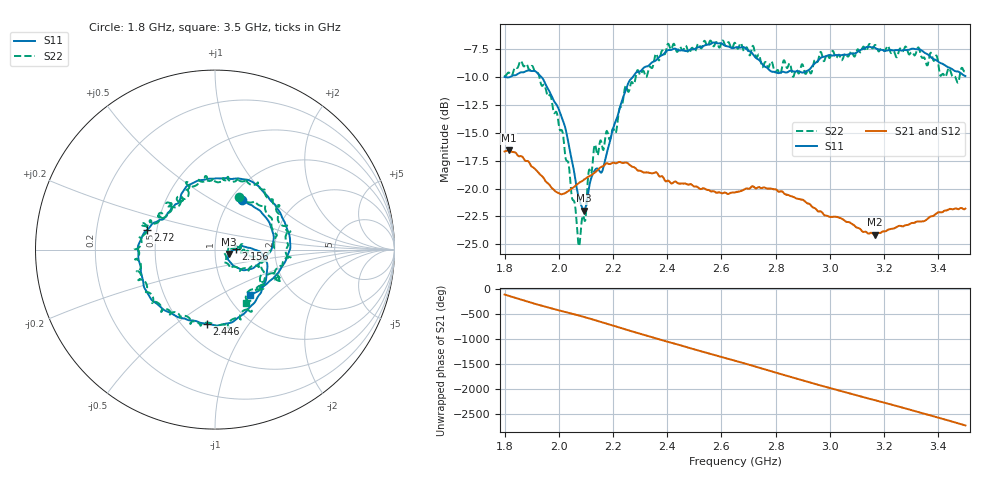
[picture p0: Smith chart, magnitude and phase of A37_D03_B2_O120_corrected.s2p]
! Created with skrf 1.9.0 (http://scikit-rf.org).
# Hz S RI R 50.0
!freq ReS11 ImS11 ReS21 ImS21 ReS12 ImS12 ReS22 ImS22
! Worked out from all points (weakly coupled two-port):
!   1601 points, 1.8 GHz to 3.5 GHz, reference 50 ohm
!   highest |S21| = -16.58 dB at 1.815 GHz (marker M1); lowest = -24.1 dB at 3.165 GHz (marker M2)
!   lowest |S11| = -22.0 dB at 2.093 GHz (marker M3), VSWR 1.17, Z = 58.1 - j2.8 ohm
!   |S11| at or under -10 dB: start of sweep to 1.821 GHz; 1.935 GHz to 2.274 GHz (338.1 MHz wide, 16.1 % of centre)
!   |S22| runs from -25.2 to -6.7 dB; largest |S21 - S12| = 0.0025
!   S11 on the Smith chart (normalised r, x): 1.8 GHz: 1.13, +0.70; 2.156 GHz: 1.27, +0.01; 2.446 GHz: 0.65, -0.65; 2.72 GHz: 0.44, +0.12; 3.5 GHz: 1.26, -0.71
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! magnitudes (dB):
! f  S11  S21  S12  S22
! 1.8 GHz  -10.0  -16.7  -16.7  -9.8
! 1.815 GHz  -10.1  -16.6  -16.6  -9.6
! 1.903 GHz  -9.5  -18.1  -18.1  -9.0
! 1.968 GHz  -11.4  -19.7  -19.8  -11.6
! 2.014 GHz  -13.8  -20.5  -20.5  -14.9
! 2.072 GHz  -20.6  -19.5  -19.6  -25.0
! 2.084 GHz  -21.6  -19.4  -19.3  -23.1
! 2.093 GHz  -22.0  -19.2  -19.3  -22.7
! 2.13 GHz  -18.5  -18.6  -18.6  -16.3
! 2.156 GHz  -18.6  -18.1  -18.1  -15.8
! 2.209 GHz  -14.0  -17.7  -17.7  -15.0
! 2.258 GHz  -10.5  -17.8  -17.8  -11.3
! 2.367 GHz  -8.3  -18.8  -18.7  -8.5
! 2.446 GHz  -7.6  -19.6  -19.6  -7.3
! 2.65 GHz  -7.4  -20.3  -20.3  -7.0
! 2.72 GHz  -8.1  -19.9  -19.8  -7.5
! 2.803 GHz  -9.6  -20.1  -20.1  -9.5
! 2.934 GHz  -9.1  -21.6  -21.6  -9.5
! 3.165 GHz  -7.4  -24.1  -24.1  -7.2
! 3.217 GHz  -7.6  -23.7  -23.6  -7.4
! 3.469 GHz  -9.5  -21.8  -21.8  -10.4
! 3.5 GHz  -9.9  -21.8  -21.8  -9.3
